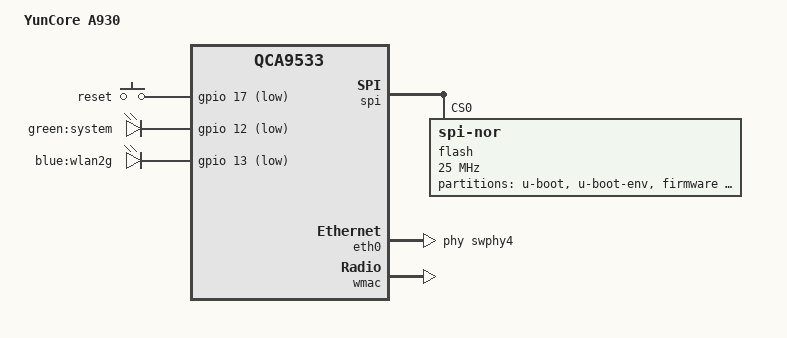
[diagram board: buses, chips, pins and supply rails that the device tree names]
// SPDX-License-Identifier: GPL-2.0-or-later OR MIT

#include "qca953x.dtsi"

#include <dt-bindings/gpio/gpio.h>
#include <dt-bindings/input/input.h>

/ {
	compatible = "yuncore,a930", "qca,qca9533";
	model = "YunCore A930";

	aliases {
		label-mac-device = &eth1;
		led-boot = &led_system;
		led-failsafe = &led_system;
		led-running = &led_system;
		led-upgrade = &led_system;
	};

	keys {
		compatible = "gpio-keys";

		reset {
			label = "reset";
			linux,code = <KEY_RESTART>;
			gpios = <&gpio 17 GPIO_ACTIVE_LOW>;
			debounce-interval = <60>;
		};
	};

	leds {
		compatible = "gpio-leds";

		led_system: system {
			label = "green:system";
			gpios = <&gpio 12 GPIO_ACTIVE_LOW>;
			default-state = "keep";
		};

		wlan2g {
			label = "blue:wlan2g";
			gpios = <&gpio 13 GPIO_ACTIVE_LOW>;
			linux,default-trigger = "phy0tpt";
		};
	};
};

&spi {
	status = "okay";

	flash@0 {
		compatible = "jedec,spi-nor";
		reg = <0>;
		spi-max-frequency = <25000000>;

		partitions {
			compatible = "fixed-partitions";
			#address-cells = <1>;
			#size-cells = <1>;

			partition@0 {
				label = "u-boot";
				reg = <0x000000 0x040000>;
				read-only;
			};

			partition@40000 {
				label = "u-boot-env";
				reg = <0x040000 0x010000>;
			};

			partition@50000 {
				compatible = "denx,uimage";
				label = "firmware";
				reg = <0x050000 0xfa0000>;
			};

			art: partition@ff0000 {
				label = "art";
				reg = <0xff0000 0x010000>;
				read-only;

				nvmem-layout {
					compatible = "fixed-layout";
					#address-cells = <1>;
					#size-cells = <1>;

					macaddr_art_0: macaddr@0 {
						reg = <0x0 0x6>;
					};

					macaddr_art_6: macaddr@6 {
						reg = <0x6 0x6>;
					};
				};
			};
		};
	};
};

&eth0 {
	status = "okay";

	phy-handle = <&swphy4>;

	nvmem-cells = <&macaddr_art_0>;
	nvmem-cell-names = "mac-address";
};

&eth1 {
	nvmem-cells = <&macaddr_art_6>;
	nvmem-cell-names = "mac-address";
};

&wmac {
	status = "okay";
	mtd-cal-data = <&art 0x1000>;
};
